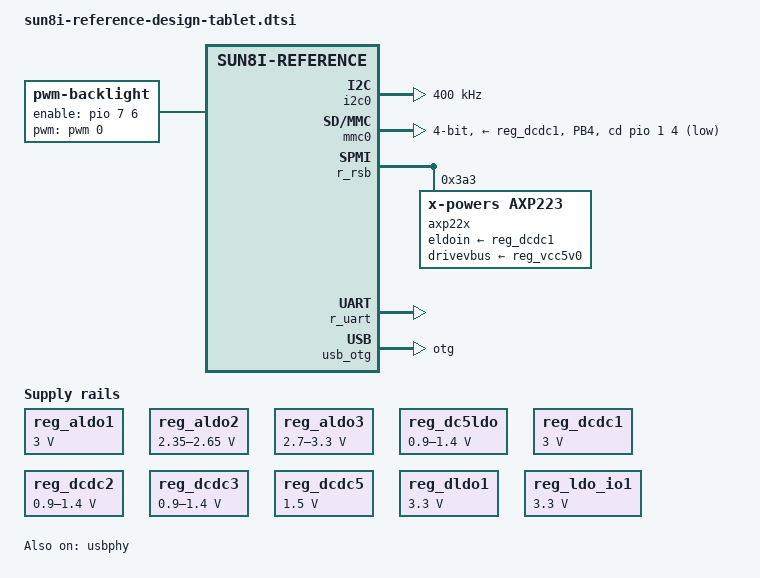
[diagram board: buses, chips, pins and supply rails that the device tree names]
/*
 * Copyright 2015 Hans de Goede <hdegoede@redhat.com>
 *
 * This file is dual-licensed: you can use it either under the terms
 * of the GPL or the X11 license, at your option. Note that this dual
 * licensing only applies to this file, and not this project as a
 * whole.
 *
 *  a) This file is free software; you can redistribute it and/or
 *     modify it under the terms of the GNU General Public License as
 *     published by the Free Software Foundation; either version 2 of the
 *     License, or (at your option) any later version.
 *
 *     This file is distributed in the hope that it will be useful,
 *     but WITHOUT ANY WARRANTY; without even the implied warranty of
 *     MERCHANTABILITY or FITNESS FOR A PARTICULAR PURPOSE.  See the
 *     GNU General Public License for more details.
 *
 * Or, alternatively,
 *
 *  b) Permission is hereby granted, free of charge, to any person
 *     obtaining a copy of this software and associated documentation
 *     files (the "Software"), to deal in the Software without
 *     restriction, including without limitation the rights to use,
 *     copy, modify, merge, publish, distribute, sublicense, and/or
 *     sell copies of the Software, and to permit persons to whom the
 *     Software is furnished to do so, subject to the following
 *     conditions:
 *
 *     The above copyright notice and this permission notice shall be
 *     included in all copies or substantial portions of the Software.
 *
 *     THE SOFTWARE IS PROVIDED "AS IS", WITHOUT WARRANTY OF ANY KIND,
 *     EXPRESS OR IMPLIED, INCLUDING BUT NOT LIMITED TO THE WARRANTIES
 *     OF MERCHANTABILITY, FITNESS FOR A PARTICULAR PURPOSE AND
 *     NONINFRINGEMENT. IN NO EVENT SHALL THE AUTHORS OR COPYRIGHT
 *     HOLDERS BE LIABLE FOR ANY CLAIM, DAMAGES OR OTHER LIABILITY,
 *     WHETHER IN AN ACTION OF CONTRACT, TORT OR OTHERWISE, ARISING
 *     FROM, OUT OF OR IN CONNECTION WITH THE SOFTWARE OR THE USE OR
 *     OTHER DEALINGS IN THE SOFTWARE.
 */
#include "sunxi-reference-design-tablet.dtsi"

#include <dt-bindings/pwm/pwm.h>

/ {
	aliases {
		serial0 = &r_uart;
	};

	backlight: backlight {
		compatible = "pwm-backlight";
		pwms = <&pwm 0 50000 PWM_POLARITY_INVERTED>;
		brightness-levels = <0 10 20 30 40 50 60 70 80 90 100>;
		default-brightness-level = <8>;
		enable-gpios = <&pio 7 6 GPIO_ACTIVE_HIGH>; /* PH6 */
	};

	chosen {
		stdout-path = "serial0:115200n8";
	};
};

&i2c0 {
	/*
	 * The gsl1680 is rated at 400KHz and it will not work reliable at
	 * 100KHz, this has been confirmed on multiple different q8 tablets.
	 * The gsl1680 is the only device on this bus.
	 */
	clock-frequency = <400000>;

	touchscreen: touchscreen@0 {
		interrupt-parent = <&pio>;
		interrupts = <1 5 IRQ_TYPE_EDGE_FALLING>; /* PB5 */
		pinctrl-names = "default";
		pinctrl-0 = <&ts_power_pin>;
		power-gpios = <&pio 7 1 GPIO_ACTIVE_HIGH>; /* PH1 */
		/* Tablet dts must provide reg and compatible */
		status = "disabled";
	};
};

&mmc0 {
	pinctrl-names = "default";
	pinctrl-0 = <&mmc0_pins_a>, <&mmc0_cd_pin>;
	vmmc-supply = <&reg_dcdc1>;
	bus-width = <4>;
	cd-gpios = <&pio 1 4 GPIO_ACTIVE_HIGH>; /* PB4 */
	cd-inverted;
	status = "okay";
};

&pio {
	mmc0_cd_pin: mmc0_cd_pin@0 {
		pins = "PB4";
		function = "gpio_in";
		bias-pull-up;
	};

	ts_power_pin: ts_power_pin@0 {
		pins = "PH1";
		function = "gpio_out";
	};

	usb0_id_detect_pin: usb0_id_detect_pin@0 {
		pins = "PH8";
		function = "gpio_in";
		bias-pull-up;
	};
};

&r_rsb {
	status = "okay";

	axp22x: pmic@3a3 {
		compatible = "x-powers,axp223";
		reg = <0x3a3>;
		interrupt-parent = <&nmi_intc>;
		interrupts = <0 IRQ_TYPE_LEVEL_LOW>;
		eldoin-supply = <&reg_dcdc1>;
		drivevbus-supply = <&reg_vcc5v0>;
		x-powers,drive-vbus-en;
	};
};

#include "axp223.dtsi"

&ac_power_supply {
	status = "okay";
};

&battery_power_supply {
	status = "okay";
};

&reg_aldo1 {
	regulator-always-on;
	regulator-min-microvolt = <3000000>;
	regulator-max-microvolt = <3000000>;
	regulator-name = "vcc-io";
};

&reg_aldo2 {
	regulator-always-on;
	regulator-min-microvolt = <2350000>;
	regulator-max-microvolt = <2650000>;
	regulator-name = "vdd-dll";
};

&reg_aldo3 {
	regulator-always-on;
	regulator-min-microvolt = <2700000>;
	regulator-max-microvolt = <3300000>;
	regulator-name = "vcc-pll-avcc";
};

&reg_dc1sw {
	regulator-name = "vcc-lcd";
};

&reg_dc5ldo {
	regulator-always-on;
	regulator-min-microvolt = <900000>;
	regulator-max-microvolt = <1400000>;
	regulator-name = "vdd-cpus";
};

&reg_dcdc1 {
	regulator-always-on;
	regulator-min-microvolt = <3000000>;
	regulator-max-microvolt = <3000000>;
	regulator-name = "vcc-3v0";
};

&reg_dcdc2 {
	regulator-always-on;
	regulator-min-microvolt = <900000>;
	regulator-max-microvolt = <1400000>;
	regulator-name = "vdd-sys";
};

&reg_dcdc3 {
	regulator-always-on;
	regulator-min-microvolt = <900000>;
	regulator-max-microvolt = <1400000>;
	regulator-name = "vdd-cpu";
};

&reg_dcdc5 {
	regulator-always-on;
	regulator-min-microvolt = <1500000>;
	regulator-max-microvolt = <1500000>;
	regulator-name = "vcc-dram";
};

&reg_dldo1 {
	regulator-min-microvolt = <3300000>;
	regulator-max-microvolt = <3300000>;
	regulator-name = "vcc-wifi";
};

&reg_drivevbus {
	regulator-name = "usb0-vbus";
	status = "okay";
};

&reg_ldo_io1 {
	regulator-min-microvolt = <3300000>;
	regulator-max-microvolt = <3300000>;
	regulator-name = "vcc-touchscreen";
	status = "okay";
};

&reg_rtc_ldo {
	regulator-name = "vcc-rtc";
};

&cpu0 {
	cpu-supply = <&reg_dcdc2>;
};

&r_uart {
	pinctrl-names = "default";
	pinctrl-0 = <&r_uart_pins_a>;
	status = "okay";
};

&simplefb_lcd {
	vcc-lcd-supply = <&reg_dc1sw>;
};

&usb_otg {
	dr_mode = "otg";
	status = "okay";
};

&usb_power_supply {
	status = "okay";
};

&usbphy {
	pinctrl-names = "default";
	pinctrl-0 = <&usb0_id_detect_pin>;
	usb0_id_det-gpio = <&pio 7 8 GPIO_ACTIVE_HIGH>; /* PH8 */
	usb0_vbus_power-supply = <&usb_power_supply>;
	usb0_vbus-supply = <&reg_drivevbus>;
	status = "okay";
};
